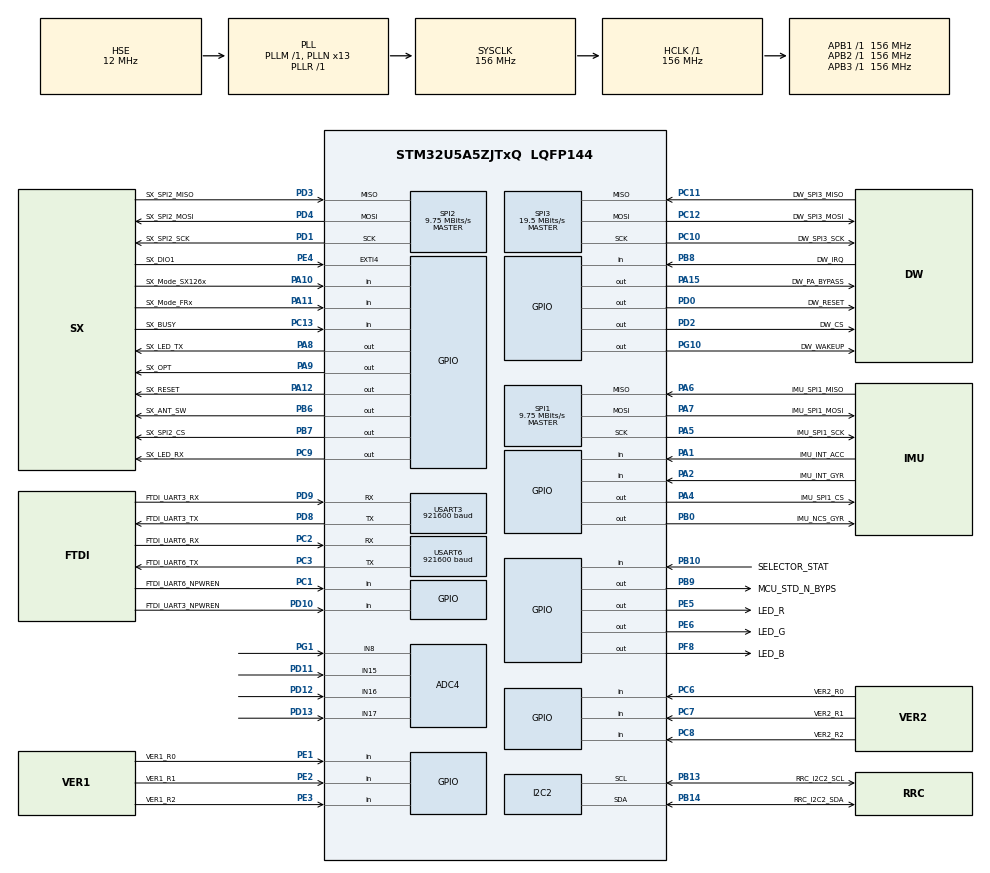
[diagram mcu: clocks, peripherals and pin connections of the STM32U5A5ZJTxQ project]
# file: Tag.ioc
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ADC4.NbrOfConversion=1
ADC4.NbrOfConversionFlag=0
ADC4.SelectedChannel=ADC_CHANNEL_8|ADC_CHANNEL_15|ADC_CHANNEL_16|ADC_CHANNEL_17
ADC4.Sequencer=NOT_FULLY_CONFIGURABLE
CORTEX_M33_NS.AccessPermission-Cortex_Memory_Protection_Unit_Region0_Settings=MPU_REGION_ALL_RO
CORTEX_M33_NS.AllocateAttribute1=MPU_RW_ALLOCATE
CORTEX_M33_NS.Attributes0=MPU_ATTRIBUTES_NUMBER0
CORTEX_M33_NS.Attributes1=MPU_ATTRIBUTES_NUMBER1
CORTEX_M33_NS.AttributesIndex-Cortex_Memory_Protection_Unit_Region1_Settings=MPU_ATTRIBUTES_NUMBER1
CORTEX_M33_NS.BaseAddress-Cortex_Memory_Protection_Unit_Region0_Settings=0x08200000
CORTEX_M33_NS.BaseAddress-Cortex_Memory_Protection_Unit_Region1_Settings=0x20000000
CORTEX_M33_NS.CacheableAttribute1=MPU_WRITE_BACK
CORTEX_M33_NS.Enable-Cortex_Memory_Protection_Unit_Region0_Settings=MPU_REGION_ENABLE
CORTEX_M33_NS.Enable-Cortex_Memory_Protection_Unit_Region1_Settings=MPU_REGION_ENABLE
CORTEX_M33_NS.LimitAddress-Cortex_Memory_Protection_Unit_Region0_Settings=0x083FDFFF
CORTEX_M33_NS.LimitAddress-Cortex_Memory_Protection_Unit_Region1_Settings=0x2026FFFF
CORTEX_M33_NS.MPU_Control=MPU_PRIVILEGED_DEFAULT
CORTEX_M33_NS.Memorytype1=MPU_CACHEABLE
CORTEX_M33_NS.Number-Cortex_Memory_Protection_Unit_Region1_Settings=MPU_REGION_NUMBER1
CORTEX_M33_NS.userName=CORTEX_M33
FLASH.B1_Bank=FLASH_BANK_2
FLASH.B1_endPage=510
FLASH.OB_Boot_Configuration_active_NS0=true
FLASH.OB_NSBOOTADD0_Address=0x08200000
FLASH.OB_User_Configuration_active=false
GPDMA1.DESTINC_GPDMACH0=DMA_DINC_INCREMENTED
GPDMA1.DESTINC_GPDMACH1=DMA_DINC_FIXED
GPDMA1.DESTINC_GPDMACH2=DMA_DINC_INCREMENTED
GPDMA1.DIRECTION_GPDMACH1=DMA_MEMORY_TO_PERIPH
GPDMA1.DIRECTION_GPDMACH3=DMA_MEMORY_TO_PERIPH
GPDMA1.IPHANDLE_GPDMACH0-SIMPLEREQUEST_GPDMACH0=__NULL
GPDMA1.IPHANDLE_GPDMACH1-SIMPLEREQUEST_GPDMACH1=__NULL
GPDMA1.IPHANDLE_GPDMACH2-SIMPLEREQUEST_GPDMACH2=__NULL
GPDMA1.IPHANDLE_GPDMACH3-SIMPLEREQUEST_GPDMACH3=__NULL
GPDMA1.PRIORITY_GPDMACH0=DMA_LOW_PRIORITY_HIGH_WEIGHT
GPDMA1.PRIORITY_GPDMACH1=DMA_LOW_PRIORITY_HIGH_WEIGHT
GPDMA1.PRIORITY_GPDMACH2=DMA_LOW_PRIORITY_HIGH_WEIGHT
GPDMA1.PRIORITY_GPDMACH3=DMA_LOW_PRIORITY_HIGH_WEIGHT
GPDMA1.REQUEST_GPDMACH0=GPDMA1_REQUEST_USART6_RX
GPDMA1.REQUEST_GPDMACH1=GPDMA1_REQUEST_USART6_TX
GPDMA1.REQUEST_GPDMACH2=GPDMA1_REQUEST_USART3_RX
GPDMA1.REQUEST_GPDMACH3=GPDMA1_REQUEST_USART3_TX
GPDMA1.SRCINC_GPDMACH1=DMA_SINC_INCREMENTED
GPDMA1.SRCINC_GPDMACH3=DMA_SINC_INCREMENTED
GPDMA1.SRCINC_GPDMACH4=DMA_SINC_INCREMENTED
GTZC.MPCBB1_Area_Privilege_Size=0x000C0000
GTZC.MPCBB1_SecConfig_array=00000000\:00000000\:00000000\:00000000\:00000000\:00000000\:00000000\:00000000\:00000000\:00000000\:00000000\:00000000\:00000000\:00000000\:00000000\:00000000\:00000000\:00000000\:00000000\:00000000\:00000000\:00000000\:00000000\:00000000\:00000000\:00000000\:00000000\:00000000\:00000000\:00000000\:00000000\:00000000\:00000000\:00000000\:00000000\:00000000\:00000000\:00000000\:00000000\:00000000\:00000000\:00000000\:00000000\:00000000\:00000000\:00000000\:00000000\:00000000
GTZC.MPCBB2_Area_Privilege_Size=0x00010000
GTZC.MPCBB2_PrivConfig_array=FFFFFFFF\:FFFFFFFF\:FFFFFFFF\:FFFFFFFF\:00000000\:00000000\:00000000\:00000000\:00000000\:00000000\:00000000\:00000000\:00000000\:00000000\:00000000\:00000000\:00000000\:00000000\:00000000\:00000000\:00000000\:00000000\:00000000\:00000000\:00000000\:00000000\:00000000\:00000000\:00000000\:00000000\:00000000\:00000000\:00000000\:00000000\:00000000\:00000000\:00000000\:00000000\:00000000\:00000000\:00000000\:00000000\:00000000\:00000000\:00000000\:00000000\:00000000\:00000000\:00000000\:00000000\:00000000\:00000000
GTZC.MPCBB2_SecConfig_array=00000000\:00000000\:00000000\:00000000\:00000000\:00000000\:00000000\:00000000\:00000000\:00000000\:00000000\:00000000\:00000000\:00000000\:00000000\:00000000\:00000000\:00000000\:00000000\:00000000\:00000000\:00000000\:00000000\:00000000\:00000000\:00000000\:00000000\:00000000\:00000000\:00000000\:00000000\:00000000\:00000000\:00000000\:00000000\:00000000\:00000000\:00000000\:00000000\:00000000\:00000000\:00000000\:00000000\:00000000\:00000000\:00000000\:00000000\:00000000\:00000000\:00000000\:00000000\:00000000
GTZC.MPCBB3_Area_Privilege_Size=0x000D0000
GTZC.MPCBB3_SecConfig_array=00000000\:00000000\:00000000\:00000000\:00000000\:00000000\:00000000\:00000000\:00000000\:00000000\:00000000\:00000000\:00000000\:00000000\:00000000\:00000000\:00000000\:00000000\:00000000\:00000000\:00000000\:00000000\:00000000\:00000000\:00000000\:00000000\:00000000\:00000000\:00000000\:00000000\:00000000\:00000000\:00000000\:00000000\:00000000\:00000000\:00000000\:00000000\:00000000\:00000000\:00000000\:00000000\:00000000\:00000000\:00000000\:00000000\:00000000\:00000000\:00000000\:00000000\:00000000\:00000000
GTZC.MPCBB4_PrivConfig_array=00000000
GTZC.MPCBB4_SecConfig_array=00000000
GTZC.MPCBB5_Area_Privilege_Size=0x000D0000
GTZC.MPCBB5_SecConfig_array=00000000\:00000000\:00000000\:00000000\:00000000\:00000000\:00000000\:00000000\:00000000\:00000000\:00000000\:00000000\:00000000\:00000000\:00000000\:00000000\:00000000\:00000000\:00000000\:00000000\:00000000\:00000000\:00000000\:00000000\:00000000\:00000000\:00000000\:00000000\:00000000\:00000000\:00000000\:00000000\:00000000\:00000000\:00000000\:00000000\:00000000\:00000000\:00000000\:00000000\:00000000\:00000000\:00000000\:00000000\:00000000\:00000000\:00000000\:00000000\:00000000\:00000000\:00000000\:00000000
I2C2.Timing=0x40707EB4
Mcu.Family=STM32U5
Mcu.Name=STM32U5A5ZJTxQ
Mcu.Package=LQFP144
NUCLEO-U5A5ZJ-Q.BUTTON=0
NUCLEO-U5A5ZJ-Q.LD1=false
NUCLEO-U5A5ZJ-Q.LD2=false
NUCLEO-U5A5ZJ-Q.LD3=false
NUCLEO-U5A5ZJ-Q.VCP=false
NVIC.EXTI4_IRQn=true\:1\:0\:false\:true\:true\:1\:true\:true\:true
NVIC.GPDMA1_Channel0_IRQn=true\:5\:0\:true\:true\:true\:5\:false\:true\:true
NVIC.GPDMA1_Channel1_IRQn=true\:0\:0\:false\:false\:true\:false\:true\:true
NVIC.GPDMA1_Channel2_IRQn=true\:0\:0\:false\:false\:true\:false\:true\:true
NVIC.GPDMA1_Channel3_IRQn=true\:0\:0\:false\:false\:true\:false\:true\:true
NVIC.PriorityGroup=NVIC_PRIORITYGROUP_4
NVIC.TIM4_IRQn=true\:0\:0\:false\:true\:true\:2\:true\:true\:true
NVIC.USART3_IRQn=true\:0\:0\:false\:false\:true\:true\:true\:true
NVIC.USART6_IRQn=true\:0\:0\:false\:false\:true\:true\:true\:true
PA1.GPIO_Label=IMU_INT_ACC
PA1.Signal=GPIO_Input
PA10.GPIO_Label=SX_Mode_SX126x
PA10.Signal=GPIO_Input
PA11.GPIO_Label=SX_Mode_FRx
PA11.Signal=GPIO_Input
PA12.GPIO_Label=SX_RESET
PA12.Signal=GPIO_Output
PA13\ (JTMS/SWDIO).Mode=Serial_Wire
PA13\ (JTMS/SWDIO).Signal=DEBUG_JTMS-SWDIO
PA14\ (JTCK/SWCLK).Mode=Serial_Wire
PA14\ (JTCK/SWCLK).Signal=DEBUG_JTCK-SWCLK
PA15\ (JTDI).GPIO_Label=DW_PA_BYPASS
PA15\ (JTDI).Signal=GPIO_Output
PA2.GPIO_Label=IMU_INT_GYR
PA2.Signal=GPIO_Input
PA4.GPIO_Label=IMU_SPI1_CS
PA4.Signal=GPIO_Output
PA5.GPIO_Label=IMU_SPI1_SCK
PA5.Mode=Full_Duplex_Master
PA5.Signal=SPI1_SCK
PA6.GPIO_Label=IMU_SPI1_MISO
PA6.Mode=Full_Duplex_Master
PA6.Signal=SPI1_MISO
PA7.GPIO_Label=IMU_SPI1_MOSI
PA7.Mode=Full_Duplex_Master
PA7.Signal=SPI1_MOSI
PA8.GPIO_Label=SX_LED_TX
PA8.Signal=GPIO_Output
PA9.GPIO_Label=SX_OPT
PA9.Signal=GPIO_Output
PB0.GPIO_Label=IMU_NCS_GYR
PB0.Signal=GPIO_Output
PB10.GPIO_Label=SELECTOR_STAT
PB10.Signal=GPIO_Input
PB13.GPIO_Label=RRC_I2C2_SCL
PB13.GPIO_Pu=GPIO_PULLUP
PB13.Mode=I2C
PB13.Signal=I2C2_SCL
PB14.GPIO_Label=RRC_I2C2_SDA
PB14.GPIO_Pu=GPIO_PULLUP
PB14.Mode=I2C
PB14.Signal=I2C2_SDA
PB3\ (JTDO/TRACESWO).Signal=DEBUG_JTDO-SWO
PB6.GPIO_Label=SX_ANT_SW
PB6.Signal=GPIO_Output
PB7.GPIO_Label=SX_SPI2_CS
PB7.Signal=GPIO_Output
PB8.GPIO_Label=DW_IRQ
PB8.Signal=GPIO_Input
PB9.GPIO_Label=MCU_STD_N_BYPS
PB9.GPIO_PuPd=GPIO_PULLUP
PB9.PinState=GPIO_PIN_SET
PB9.Signal=GPIO_Output
PC1.GPIO_Label=FTDI_UART6_NPWREN
PC1.GPIO_PuPd=GPIO_NOPULL
PC1.Signal=GPIO_Input
PC10.GPIO_Label=DW_SPI3_SCK
PC10.Mode=Full_Duplex_Master
PC10.Signal=SPI3_SCK
PC11.GPIO_Label=DW_SPI3_MISO
PC11.Mode=Full_Duplex_Master
PC11.Signal=SPI3_MISO
PC12.GPIO_Label=DW_SPI3_MOSI
PC12.Mode=Full_Duplex_Master
PC12.Signal=SPI3_MOSI
PC13.GPIO_Label=SX_BUSY
PC13.Signal=GPIO_Input
PC14-OSC32_IN\ (PC14).Mode=LSE-External-Oscillator
PC14-OSC32_IN\ (PC14).Signal=RCC_OSC32_IN
PC15-OSC32_OUT\ (PC15).Mode=LSE-External-Oscillator
PC15-OSC32_OUT\ (PC15).Signal=RCC_OSC32_OUT
PC2.GPIO_Label=FTDI_UART6_RX
PC2.GPIO_PuPd=GPIO_PULLUP
PC2.Mode=Asynchronous
PC2.Signal=USART6_RX
PC3.GPIO_Label=FTDI_UART6_TX
PC3.GPIO_PuPd=GPIO_PULLUP
PC3.Mode=Asynchronous
PC3.Signal=USART6_TX
PC6.GPIO_Label=VER2_R0
PC6.GPIO_PuPd=GPIO_PULLUP
PC6.Signal=GPIO_Input
PC7.GPIO_Label=VER2_R1
PC7.GPIO_PuPd=GPIO_PULLUP
PC7.Signal=GPIO_Input
PC8.GPIO_Label=VER2_R2
PC8.GPIO_PuPd=GPIO_PULLUP
PC8.Signal=GPIO_Input
PC9.GPIO_Label=SX_LED_RX
PC9.Signal=GPIO_Output
PD0.GPIO_Label=DW_RESET
PD0.Signal=GPIO_Output
PD1.GPIO_Label=SX_SPI2_SCK
PD1.Mode=Full_Duplex_Master
PD1.Signal=SPI2_SCK
PD10.GPIO_Label=FTDI_UART3_NPWREN
PD10.GPIO_PuPd=GPIO_NOPULL
PD10.Signal=GPIO_Input
PD11.Mode=IN15
PD11.Signal=ADC4_IN15
PD12.Mode=IN16
PD12.Signal=ADC4_IN16
PD13.Mode=IN17
PD13.Signal=ADC4_IN17
PD2.GPIO_Label=DW_CS
PD2.Signal=GPIO_Output
PD3.GPIO_Label=SX_SPI2_MISO
PD3.Mode=Full_Duplex_Master
PD3.Signal=SPI2_MISO
PD4.GPIO_Label=SX_SPI2_MOSI
PD4.Mode=Full_Duplex_Master
PD4.Signal=SPI2_MOSI
PD8.GPIO_Label=FTDI_UART3_TX
PD8.GPIO_PuPd=GPIO_PULLUP
PD8.Mode=Asynchronous
PD8.Signal=USART3_TX
PD9.GPIO_Label=FTDI_UART3_RX
PD9.GPIO_PuPd=GPIO_PULLUP
PD9.Mode=Asynchronous
PD9.Signal=USART3_RX
PE1.GPIO_Label=VER1_R0
PE1.GPIO_PuPd=GPIO_PULLUP
PE1.Signal=GPIO_Input
PE2.GPIO_Label=VER1_R1
PE2.GPIO_PuPd=GPIO_PULLUP
PE2.Signal=GPIO_Input
PE3.GPIO_Label=VER1_R2
PE3.GPIO_PuPd=GPIO_PULLUP
PE3.Signal=GPIO_Input
PE4.GPIO_Label=SX_DIO1
PE4.Signal=GPXTI4
PE5.GPIO_Label=LED_R
PE5.GPIO_PuPd=GPIO_PULLUP
PE5.PinState=GPIO_PIN_SET
PE5.Signal=GPIO_Output
PE6.GPIO_Label=LED_G
PE6.GPIO_PuPd=GPIO_PULLUP
PE6.PinState=GPIO_PIN_SET
PE6.Signal=GPIO_Output
PF8.GPIO_Label=LED_B
PF8.GPIO_PuPd=GPIO_PULLUP
PF8.PinState=GPIO_PIN_SET
PF8.Signal=GPIO_Output
PG1.Mode=IN8
PG1.Signal=ADC4_IN8
PG10.GPIO_Label=DW_WAKEUP
PG10.Signal=GPIO_Output
PH0-OSC_IN\ (PH0).Mode=HSE-External-Oscillator
PH0-OSC_IN\ (PH0).Signal=RCC_OSC_IN
PH1-OSC_OUT\ (PH1).Mode=HSE-External-Oscillator
PH1-OSC_OUT\ (PH1).Signal=RCC_OSC_OUT
ProjectManager.HeapSize=0x200
ProjectManager.StackSize=0x400
ProjectManager.TargetToolchain=STM32CubeIDE
RCC.ADCFreq_Value=16000000
RCC.AHBFreq_Value=156000000
RCC.APB1Freq_Value=156000000
RCC.APB1TimFreq_Value=156000000
RCC.APB2Freq_Value=156000000
RCC.APB2TimFreq_Value=156000000
RCC.APB3Freq_Value=156000000
RCC.CortexFreq_Value=156000000
RCC.DACCLockSelectionVirtual=RCC_DAC1CLKSOURCE_LSI
RCC.EPOD_VALUE=12000000
RCC.HCLKFreq_Value=156000000
RCC.HSE_VALUE=12000000
RCC.HSI48_VALUE=48000000
RCC.HSI_VALUE=16000000
RCC.LSIDIV=RCC_LSI_DIV128
RCC.LSIDIV_VALUE=250
RCC.MSIClockRange=RCC_MSIRANGE_0
RCC.MSI_VALUE=48000000
RCC.PLL1P=8
RCC.PLL1R=1
RCC.PLL2FRACN=0
RCC.PLL3FRACN=0
RCC.PLLFRACN=0
RCC.PLLN=13
RCC.PLLSourceVirtual=RCC_PLLSOURCE_HSE
RCC.SPI1CLockSelection=RCC_SPI1CLKSOURCE_PCLK2
RCC.SPI2CLockSelection=RCC_SPI2CLKSOURCE_PCLK1
RCC.SPI3CLockSelection=RCC_SPI3CLKSOURCE_PCLK3
RCC.SYSCLKFreq_VALUE=156000000
RCC.SYSCLKSource=RCC_SYSCLKSOURCE_PLLCLK
RCC.VCOOutputFreq_Value=156000000
RTC.RTC_NONSECURE_FEATURE_ALRA=__NULL
RTC.backupRegisterStartZone3_g=1
SPI1.BaudRatePrescaler=SPI_BAUDRATEPRESCALER_16
SPI1.CalculateBaudRate=9.75 MBits/s
SPI1.DataSize=SPI_DATASIZE_8BIT
SPI1.Direction=SPI_DIRECTION_2LINES
SPI1.Mode=SPI_MODE_MASTER
SPI1.VirtualType=VM_MASTER
SPI2.BaudRatePrescaler=SPI_BAUDRATEPRESCALER_16
SPI2.CLKPolarity=SPI_POLARITY_LOW
SPI2.CalculateBaudRate=9.75 MBits/s
SPI2.DataSize=SPI_DATASIZE_8BIT
SPI2.Direction=SPI_DIRECTION_2LINES
SPI2.Mode=SPI_MODE_MASTER
SPI2.VirtualType=VM_MASTER
SPI3.BaudRatePrescaler=SPI_BAUDRATEPRESCALER_8
SPI3.CalculateBaudRate=19.5 MBits/s
SPI3.DataSize=SPI_DATASIZE_8BIT
SPI3.Direction=SPI_DIRECTION_2LINES
SPI3.MasterReceiverAutoSusp=SPI_MASTER_RX_AUTOSUSP_ENABLE
SPI3.Mode=SPI_MODE_MASTER
SPI3.VirtualType=VM_MASTER
TIM4.AutoReloadPreload=TIM_AUTORELOAD_PRELOAD_ENABLE
TIM4.PeriodNoDither=999
TIM4.Prescaler=155
USART3.BaudRate=921600
USART3.VirtualMode-Asynchronous=VM_ASYNC
USART6.BaudRate=921600
USART6.VirtualMode-Asynchronous=VM_ASYNC
VP_CRC_VS_CRC.Mode=CRC_Activate
VP_FLASH_SIG_Activate_FlashIP.Mode=Activate_FlashIP
VP_GPDMA1_VS_GPDMACH0.Mode=SIMPLEREQUEST_GPDMACH0
VP_GPDMA1_VS_GPDMACH1.Mode=SIMPLEREQUEST_GPDMACH1
VP_GPDMA1_VS_GPDMACH2.Mode=SIMPLEREQUEST_GPDMACH2
VP_GPDMA1_VS_GPDMACH3.Mode=SIMPLEREQUEST_GPDMACH3
VP_GPDMA1_VS_GPDMACH4.Mode=SIMPLEREQUEST_GPDMACH4
VP_GTZC_VS_GTZC_Enable.Mode=GTZC_Enable
VP_ICACHE_VS_ICACHE.Mode=DefaultMode
VP_LPBAMQUEUE_VS_QUEUE.Mode=QUEUEMODE
VP_LPBAM_VS_SIG1.Mode=SmartRun
VP_LPBAM_VS_SIG4.Mode=LPDMA1
VP_MEMORYMAP_VS_MEMORYMAP.Mode=CurAppReg
VP_NUCLEO-U5A5ZJ-Q_VS_BSP_COMMON.Mode=COMMON
VP_PWR_VS_SECSignals.Mode=Security/Privilege
VP_PWR_Vdda.Mode=isolationVdda
VP_RTC_VS_RTC_Activate.Mode=RTC_Enabled
VP_TIM2_VS_ClockSourceINT.Mode=Internal
VP_TIM4_VS_ClockSourceINT.Mode=Internal
board=NUCLEO-U5A5ZJ-Q

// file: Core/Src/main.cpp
/* USER CODE BEGIN Header */
/**
 ******************************************************************************
 * @file           : main.c
 * @brief          : Main program body
 ******************************************************************************
 * @attention
 *
 * Copyright (c) 2024 STMicroelectronics.
 * All rights reserved.
 *
 * This software is licensed under terms that can be found in the LICENSE file
 * in the root directory of this software component.
 * If no LICENSE file comes with this software, it is provided AS-IS.
 *
 ******************************************************************************
 */
/* USER CODE END Header */
#include "main.h"
#include "adc.h"
#include "crc.h"
#include "flash.h"
#include "gpdma.h"
#include "i2c.h"
#include "icache.h"
#include "memorymap.h"
#include "rtc.h"
#include "spi.h"
#include "tim.h"
#include "usart.h"
#include "gpio.h"

/* USER CODE BEGIN Includes */
#include "dw1000.h"
#include "Led.h"
#include "../Lora/Inc/Lora.hpp"
#include "Power.h"
#include "flash_handler.h"
#include "stm32u5xx_hal_usart.h"
#include "uart_communication.h"
#include "burn_mode.h"
#include "fota.h"
#include <string.h>
#include "BMI088.h"
#include "stm32u5xx_it.h"
/* USER CODE END Includes */

/* USER CODE BEGIN PTD */
#include <unistd.h>
#include <stdlib.h>
#include <stdio.h>

// Tags are built WITH wakeup (sleep until an anchor wakes them over LoRa). Uncomment only for a
// bench image that never sleeps.
//#define WITHOUT_WAKEUP

/* USER CODE END PTD */

void SystemClock_Config(void);
static void MPU_Config(void);
static void MX_NVIC_Init(void);

/* USER CODE BEGIN 0 */
LoraRxInfo_t lora_rxInfo =
{
		.lora_wakeup_buffer = {0} , .buffer_length = 0, .rssi = 0,		// average rssi
				.snr = 0, .RxTOsCounter = 0, //Rx Time Outs Counter
				.new_data = false, .wakeup_detected = false, .no_lora = false, .tx_counter = 0, .freq = 0,
				.wakeup_cycle_enable = true};
extern DwmInfo_t dwmInfo;

uint8_t RxLen;
S_UART_MESSAGE msg;
S_UART_MESSAGE reply;

uint8_t HW_Version;
static uint8_t HW_Strap;	// what the strap pins read (#21)
bool wakeup_switch = true;

void printStt(void)
{
	/*	uint8_t buff[100] = { 0 };
	 uint8_t len =
	 snprintf((char*) buff, sizeof(buff),
	 "*T%x:%s:%s:Dw%d:Lr%d(%d)#\n\r0x%08X &\r\n0x%08X\r\n----------\r\n0x%08X\r\nRxTO:%d\r\nTx:%d, %d\r\n",
	 SELF_ID, VERSION, HW_VER, dwmInfo.status,
	 lora_rxInfo.status, lora_msg_index, dwmInfo.statusReg,
	 (SYS_STATUS_ALL_RX_TO | SYS_STATUS_RXFCG
	 | SYS_STATUS_ALL_RX_ERR),
	 dwmInfo.statusReg
	 & (SYS_STATUS_ALL_RX_TO | SYS_STATUS_RXFCG
	 | SYS_STATUS_ALL_RX_ERR),
	 dwmInfo.RxToCounter, lora_rxInfo.no_lora,
	 lora_rxInfo.tx_counter);
	 HAL_UART_Transmit(&huart1, buff, len, 100);*/
}

void print(const char *s)
{
	//HAL_UART_Transmit(&huart3, (uint8_t*) s, strlen(s), 100);
}

void printP(const char *s, const char *p)
{
//	uint8_t buff[100] =
//	{ 0 };
//	uint8_t len = snprintf((char*) buff, sizeof(buff), s, p);
//
//	HAL_UART_Transmit(&huart1, buff, len, 100);
}

// Self-id flash page: slot 0 tag id, 1 TX antenna delay, 2 RX antenna delay.
// Rewrites the page with slots 1-2 replaced; returns 0 on success.
static uint8_t Save_Antenna_Delays(uint16_t tx, uint16_t rx) {
	uint16_t page[8];
	memcpy(page, (const void*)FLASH_SELF_ID_ADDRESS, sizeof(page));
	page[1] = tx;
	page[2] = rx;
	if (Flash_Erase(FLASH_SELF_ID_USER_BANK, FLASH_SELF_ID_PAGE) != HAL_OK)
		return 1;
	return Flash_Write(FLASH_SELF_ID_ADDRESS, (uint64_t*)page, 1) != HAL_OK;
}

// UART_OPCODE_ANT_DELAY: {tx u16, rx u16} sets (0/0xFFFF = back to the default), empty = read.
// Reply {status, tx u16, rx u16} with the values in flash (0xFFFF = default in use).
static void Antenna_Delay_Command(S_UART_MESSAGE *msg, S_UART_MESSAGE *reply) {
	static uint8_t r[8];
	uint8_t status = 0;
	(void)reply;
	if (msg->header.length >= sizeof(S_HEADER) + 4 + 1) {
		uint16_t tx, rx;
		memcpy(&tx, &msg->buff[0], 2);
		memcpy(&rx, &msg->buff[2], 2);
		status = Save_Antenna_Delays(tx, rx);
		dwApplyAntennaDelays();
	}
	const uint16_t *page = (const uint16_t*)FLASH_SELF_ID_ADDRESS;
	r[0] = msg->header.opcode;
	r[1] = sizeof(r);
	r[2] = status;
	memcpy(&r[3], &page[1], 2);
	memcpy(&r[5], &page[2], 2);
	r[7] = checksum(r, sizeof(r));
	UART_SendMessage(r, sizeof(r));
}

// UART_OPCODE_XTAL_TRIM: {trim u8} 0..31 saves and applies it, 0xFF clears it (back to the chip's OTP
// trim, or mid-range), empty = read. Self-id page slot 3. Reply {status, saved (0xFF = none), active}.
static void Xtal_Trim_Command(S_UART_MESSAGE *msg) {
	static uint8_t r[6];
	uint8_t status = 0;
	if (msg->header.length >= sizeof(S_HEADER) + 1 + 1) {
		uint8_t t = msg->buff[0];
		if (t <= FS_XTALT_MASK || t == 0xFF) {
			uint16_t page[8];
			memcpy(page, (const void*)FLASH_SELF_ID_ADDRESS, sizeof(page));
			page[3] = (t == 0xFF) ? 0xFFFF : t;
			if (Flash_Erase(FLASH_SELF_ID_USER_BANK, FLASH_SELF_ID_PAGE) != HAL_OK
					|| Flash_Write(FLASH_SELF_ID_ADDRESS, (uint64_t*)page, 1) != HAL_OK)
				status = 1;
			if (t == 0xFF) {	// back to what the driver loads at init
				dwmInit();
				dwConfig(&config);
			} else {
				dwt_setxtaltrim(t);
			}
		} else {
			status = 2;		// out of range
		}
	}
	uint16_t saved = ((const uint16_t*)FLASH_SELF_ID_ADDRESS)[3];
	r[0] = msg->header.opcode;
	r[1] = sizeof(r);
	r[2] = status;
	r[3] = (saved <= FS_XTALT_MASK) ? (uint8_t)saved : 0xFF;
	r[4] = dwt_read8bitoffsetreg(FS_CTRL_ID, FS_XTALT_OFFSET) & FS_XTALT_MASK;
	r[5] = checksum(r, sizeof(r));
	UART_SendMessage(r, sizeof(r));
}

// UART_OPCODE_HW_REV (#21): {rev u8} 0..HW_REV_MAX stores the board revision (self-id page slot 4),
// 0xFF clears it (the strap pins decide again), empty = read. Reply {status, active, stored
// (0xFF = none), straps}. A change reboots the board once the reply is out: UART, LEDs and radio
// drive are set up for the revision at power-up.
static void Hw_Rev_Command(S_UART_MESSAGE *msg) {
	static uint8_t r[7];
	uint8_t status = 0;
	uint16_t stored = ((const uint16_t*)FLASH_SELF_ID_ADDRESS)[SELF_ID_SLOT_HW];
	bool changed = false;
	if (msg->header.length >= sizeof(S_HEADER) + 1 + 1) {
		uint8_t v = msg->buff[0];
		uint16_t want = (v == 0xFF) ? 0xFFFF : v;
		if (v > HW_REV_MAX && v != 0xFF) {
			status = 2;		// out of range
		} else if (want != stored) {
			uint16_t page[8];
			memcpy(page, (const void*)FLASH_SELF_ID_ADDRESS, sizeof(page));
			page[SELF_ID_SLOT_HW] = want;
			if (Flash_Erase(FLASH_SELF_ID_USER_BANK, FLASH_SELF_ID_PAGE) != HAL_OK
					|| Flash_Write(FLASH_SELF_ID_ADDRESS, (uint64_t*)page, 1) != HAL_OK) {
				status = 1;
			} else {
				stored = want;
				changed = true;
			}
		}
	}
	r[0] = msg->header.opcode;
	r[1] = sizeof(r);
	r[2] = status;
	r[3] = HW_Version;
	r[4] = (stored <= HW_REV_MAX) ? (uint8_t)stored : 0xFF;
	r[5] = HW_Strap;
	r[6] = checksum(r, sizeof(r));
	UART_SendMessage(r, sizeof(r));
	if (changed) {
		HAL_Delay(50);		// the reply goes out by DMA
		HAL_NVIC_SystemReset();
	}
}

/* USER CODE END 0 */

int main(void)
{

  /* USER CODE BEGIN 1 */
	SCB->VTOR = 0x08200000;
	__enable_irq();
  /* USER CODE END 1 */

  /* MCU Configuration--------------------------------------------------------*/

  /* MPU Configuration--------------------------------------------------------*/
  MPU_Config();

  /* Reset of all peripherals, Initializes the Flash interface and the Systick. */
  HAL_Init();

  /* Configure the system clock */
  SystemClock_Config();

  /* Initialize all configured peripherals */
  MX_GPDMA1_Init();
  MX_GPIO_Init();
  MX_SPI1_Init();
  MX_ICACHE_Init();
  MX_SPI3_Init();
  MX_TIM2_Init();
  MX_TIM4_Init();
  MX_SPI2_Init();
  MX_RTC_Init();
  MX_USART6_UART_Init();
  MX_USART3_UART_Init();
  MX_ADC4_Init();
  MX_FLASH_Init();
  MX_CRC_Init();
  MX_I2C2_Init();

  /* Initialize interrupts */
  MX_NVIC_Init();

  /* Infinite loop */
  /* USER CODE BEGIN WHILE */
  CRC_File_Handler(); //create header file flash if it doesnt exist
  main_init();

  Led_show();
  BMI088_Init(&bmi,&hspi1,IMU_SPI1_CS_GPIO_Port,IMU_SPI1_CS_Pin,IMU_NCS_GYR_GPIO_Port, IMU_NCS_GYR_Pin);

  print("\n\n\n");
  print("----------------------\r\n");
  printP("	Tag Version: %s \r\n", VERSION);
  print("----------------------\r\n");
  print("\n\n\n");

	status_bits errors = {0};

	if (dwmInit())
	{
		dwConfig(&config);
	}

	HAL_TIM_Base_Start_IT(&htim4);
	Enable_Wakeup_Pin(PWR_WAKEUP_PIN1_HIGH_2);
	// Power up LEDs

	Lora_init();
	if(lora_rxInfo.no_lora == false)
	{
		#ifdef WITHOUT_WAKEUP
			RunTXStateMachine(errors);
			lora_rxInfo.wakeup_detected = true;
		#else
			Lora_Operation_RX(errors);
		#endif // WITHOUT_WAKEUP
	}

	__HAL_PWR_CLEAR_FLAG(PWR_FLAG_SBF);  // Clear Standby flag
	__HAL_PWR_CLEAR_FLAG(PWR_WAKEUP_FLAG1); // Clear wake-up flag
	errors.bits.no_LoRa  = lora_rxInfo.no_lora;
	errors.bits.no_UWB = dwmInfo.no_uwb;
	Led_Power_Up_State(dwmInfo.no_uwb ,lora_rxInfo.no_lora);

	#ifdef WITHOUT_WAKEUP
		PWR_SetTimeOut(PWR_Duration_NEVER);
	#else
		PWR_SetTimeOut(PWR_Duration_PowerUpSleepDuration);
	#endif

	/***********************
	 *
	 * 		Main Operational Loop
	 *
	 */
	while  (1)
	{
		refresh_WD();
		fota_poll();

		//	UWB

		if (!fota_busy())
			dwRecover();
		if (dwmInfo.no_uwb == false && !fota_busy())
		{
			if (dwRange())
			{
				Link_Led(GREEN);
			}
		}
		//	LoRa
		if (lora_rxInfo.no_lora == false && !fota_busy()){
			if (lora_rxInfo.wakeup_detected == true){

				if (!PWR_NeedToSleep())
				{
					Lora_TagService(errors);	// beacons, plus the command listen window and its ack
				}
			}
			else
			{
				Lora_Operation_RX(errors);
			}
		}

		//	UART
		RxLen = UART_GetMessage((uint8_t*) &msg, sizeof(msg));
		if ((RxLen != RX_EMPTY) && Validate_UART(&msg, RxLen))
		{
			PWR_SetTimeOut(PWR_Duration_LabDuration);

			switch (msg.header.opcode)
			{
			case UART_OPCODE_BURN: {
				UART_Reply_Burn_msg(&msg,&reply);
				break;
			}
			case UART_OPCODE_SET_ID:
			{
//				uint16_t new_id = msg.set_id_req.new_id;
				const uint16_t *page = (const uint16_t*)FLASH_SELF_ID_ADDRESS;	// keep the antenna delays
				uint16_t new_id[8] = {msg.set_id_req.new_id,page[1],page[2],page[3],page[SELF_ID_SLOT_HW],0xFFFF,0xFFFF,0xFFFF};	// keep delays, crystal trim and board revision

				//uint64_t Data = msg.set_id_req.new_id;
				uint8_t error;
				error = Flash_Erase(FLASH_SELF_ID_USER_BANK, FLASH_SELF_ID_PAGE) != HAL_OK;
				if (error){
					UART_Reply_Set_Self_ID(&msg, &reply, error);
					break;
				}
				error = Flash_Write(FLASH_SELF_ID_ADDRESS, (uint64_t*)&new_id, 1) != HAL_OK;
				if (error){
					UART_Reply_Set_Self_ID(&msg, &reply, error);
					break;
				}
				UART_Reply_Set_Self_ID(&msg, &reply, error);
				break;
			}
			case UART_OPCODE_STATUS:
			{
				dwmStatus();
				Lora_Status();
				UART_Reply_Status(&msg,&reply);
				break;
			}
			case UART_OPCODE_ANT_DELAY:
			{
				Antenna_Delay_Command(&msg, &reply);
				break;
			}
			case UART_OPCODE_XTAL_TRIM:
			{
				Xtal_Trim_Command(&msg);
				break;
			}
			case UART_OPCODE_HW_REV:
			{
				Hw_Rev_Command(&msg);
				break;
			}
			case UART_OPCODE_LOOPBACK:
			{
				UART_SendMessage(&msg, msg.header.length);
				break;
			}

			case UART_OPCODE_READ_UWB_RAW:{
				UART_Reply_UWB_Raw(&msg, &reply);
				break;
			}
			case UART_OPCODE_RESET:
			{
				UART_Reply_Status(&msg,&reply);
				HAL_Delay(1000);
				HAL_NVIC_SystemReset();
				break;
			}

			case UART_OPCODE_UPDATE_FW:
			{
				UART_Reply_UPDATE_FW(&msg,&reply);
				HAL_Delay(50);

				write_bkup_sram();
				//*(uint32_t*)(SRAM_BKUP_REGISTER+4) = 0;
				//uint32_t read_reg = *(uint32_t*)SRAM_BKUP_REGISTER;
				if (Update_FW_Boot_Flag()){
					Jump_To_Boot();
				}
				break;
			}

			default:
				if (!fota_uart_command((uint8_t*) &msg, RxLen))
					UART_Reply_error(&msg, &reply);
				break;
			}
		}
		//	LED
		Led_Maintanence();

#ifndef WITHOUT_WAKEUP
		{	//	Low power handling
			// Lora_TagCanSleep(): never with a command window or ack in progress, whose inverted IQ would
			// leave the sleeping radio deaf to wake messages
			if(Lora_TXidle() && Lora_TagCanSleep() && PWR_NeedToSleep() && !fota_keep_awake()){
				lora_rxInfo.wakeup_cycle_enable = true;
				PWR_Sleep();
				wakeup_switch = false;
			}
		}
#endif // WITHOUT_WAKEUP
	}
    /* USER CODE END WHILE */

}

void SystemClock_Config(void)
{
  RCC_OscInitTypeDef RCC_OscInitStruct = {0};
  RCC_ClkInitTypeDef RCC_ClkInitStruct = {0};

  /** Configure the main internal regulator output voltage
  */
  if (HAL_PWREx_ControlVoltageScaling(PWR_REGULATOR_VOLTAGE_SCALE1) != HAL_OK)
  {
    Error_Handler();
  }

  /** Initializes the CPU, AHB and APB buses clocks
  */
  RCC_OscInitStruct.OscillatorType = RCC_OSCILLATORTYPE_HSI|RCC_OSCILLATORTYPE_LSI
                              |RCC_OSCILLATORTYPE_HSE;
  RCC_OscInitStruct.HSEState = RCC_HSE_ON;
  RCC_OscInitStruct.HSIState = RCC_HSI_ON;
  RCC_OscInitStruct.HSICalibrationValue = RCC_HSICALIBRATION_DEFAULT;
  RCC_OscInitStruct.LSIState = RCC_LSI_ON;
  RCC_OscInitStruct.LSIDiv = RCC_LSI_DIV128;
  RCC_OscInitStruct.PLL.PLLState = RCC_PLL_ON;
  RCC_OscInitStruct.PLL.PLLSource = RCC_PLLSOURCE_HSE;
  RCC_OscInitStruct.PLL.PLLMBOOST = RCC_PLLMBOOST_DIV1;
  RCC_OscInitStruct.PLL.PLLM = 1;
  RCC_OscInitStruct.PLL.PLLN = 13;
  RCC_OscInitStruct.PLL.PLLP = 8;
  RCC_OscInitStruct.PLL.PLLQ = 2;
  RCC_OscInitStruct.PLL.PLLR = 1;
  RCC_OscInitStruct.PLL.PLLRGE = RCC_PLLVCIRANGE_1;
  RCC_OscInitStruct.PLL.PLLFRACN = 0;
  if (HAL_RCC_OscConfig(&RCC_OscInitStruct) != HAL_OK)
  {
    Error_Handler();
  }

  /** Initializes the CPU, AHB and APB buses clocks
  */
  RCC_ClkInitStruct.ClockType = RCC_CLOCKTYPE_HCLK|RCC_CLOCKTYPE_SYSCLK
                              |RCC_CLOCKTYPE_PCLK1|RCC_CLOCKTYPE_PCLK2
                              |RCC_CLOCKTYPE_PCLK3;
  RCC_ClkInitStruct.SYSCLKSource = RCC_SYSCLKSOURCE_PLLCLK;
  RCC_ClkInitStruct.AHBCLKDivider = RCC_SYSCLK_DIV1;
  RCC_ClkInitStruct.APB1CLKDivider = RCC_HCLK_DIV1;
  RCC_ClkInitStruct.APB2CLKDivider = RCC_HCLK_DIV1;
  RCC_ClkInitStruct.APB3CLKDivider = RCC_HCLK_DIV1;

  if (HAL_RCC_ClockConfig(&RCC_ClkInitStruct, FLASH_LATENCY_4) != HAL_OK)
  {
    Error_Handler();
  }
}

/**
  * @brief NVIC Configuration.
  * @retval None
  */
static void MX_NVIC_Init(void)
{
  /* EXTI4_IRQn interrupt configuration */
  HAL_NVIC_SetPriority(EXTI4_IRQn, 1, 0);	// below TIM4: the watchdog preempts a radio handler stuck on BUSY
  HAL_NVIC_EnableIRQ(EXTI4_IRQn);
  /* TIM4_IRQn interrupt configuration */
  HAL_NVIC_SetPriority(TIM4_IRQn, 0, 0);
  HAL_NVIC_EnableIRQ(TIM4_IRQn);
  /* GPDMA1_Channel0_IRQn interrupt configuration */
  HAL_NVIC_SetPriority(GPDMA1_Channel0_IRQn, 5, 0);
  HAL_NVIC_EnableIRQ(GPDMA1_Channel0_IRQn);
}

/* USER CODE BEGIN 4 */

VER_PIN RevC1[] = {
		{GPIOE, GPIO_PIN_1},	// VER1_0
		{GPIOE, GPIO_PIN_2},	// VER1_1
		{GPIOE, GPIO_PIN_3},	// VER1_2
};

VER_PIN RevC2[] = {
		{GPIOC, GPIO_PIN_6},	// VER2_0
		{GPIOC, GPIO_PIN_7},	// VER2_1
		{GPIOC, GPIO_PIN_8},	// VER2_2
};
// The stored board revision (#21) wins; without one, the strap pins decide.
void read_hw_version(void){
	HW_Strap = 0;
	HW_Strap |= READ_HW_PIN(RevC1[VER_R0],VER_R0) | READ_HW_PIN(RevC2[VER_R0],VER_R0);
	HW_Strap |= READ_HW_PIN(RevC1[VER_R1],VER_R1) | READ_HW_PIN(RevC2[VER_R1],VER_R1);
	HW_Strap |= READ_HW_PIN(RevC1[VER_R2],VER_R2) | READ_HW_PIN(RevC2[VER_R2],VER_R2);
	uint16_t stored = ((const uint16_t*)FLASH_SELF_ID_ADDRESS)[SELF_ID_SLOT_HW];
	HW_Version = (stored <= HW_REV_MAX) ? (uint8_t)stored : HW_Strap;
}

void main_init(){
	write_clear_bkup_sram();
	read_hw_version();
	Init_Leds(HW_Version);
}

void write_clear_bkup_sram(void){
	*(uint32_t*)(SRAM_BKUP_REGISTER) = SRAM_BKUP_REGISTER_CLEAR;
}

void write_bkup_sram(void){
	*(uint32_t*)(SRAM_BKUP_REGISTER) = UPDATE_FW_MODE;
}

/* USER CODE END 4 */

 /* MPU Configuration */

void MPU_Config(void)
{
  MPU_Region_InitTypeDef MPU_InitStruct = {0};
  MPU_Attributes_InitTypeDef MPU_AttributesInit = {0};

  /* Disables the MPU */
  HAL_MPU_Disable();

  /** Initializes and configures the Region 0 and the memory to be protected
  */
  MPU_InitStruct.Enable = MPU_REGION_ENABLE;
  MPU_InitStruct.Number = MPU_REGION_NUMBER0;
  MPU_InitStruct.BaseAddress = 0x08200000;
  MPU_InitStruct.LimitAddress = 0x083FDFFF;
  MPU_InitStruct.AttributesIndex = MPU_ATTRIBUTES_NUMBER0;
  MPU_InitStruct.AccessPermission = MPU_REGION_ALL_RO;
  MPU_InitStruct.DisableExec = MPU_INSTRUCTION_ACCESS_ENABLE;
  MPU_InitStruct.IsShareable = MPU_ACCESS_NOT_SHAREABLE;

  HAL_MPU_ConfigRegion(&MPU_InitStruct);

  /** Initializes and configures the Region 1 and the memory to be protected
  */
  MPU_InitStruct.Number = MPU_REGION_NUMBER1;
  MPU_InitStruct.BaseAddress = 0x20000000;
  MPU_InitStruct.LimitAddress = 0x2026FFFF;
  MPU_InitStruct.AttributesIndex = MPU_ATTRIBUTES_NUMBER1;
  MPU_InitStruct.AccessPermission = MPU_REGION_PRIV_RW;

  HAL_MPU_ConfigRegion(&MPU_InitStruct);

  /** Initializes and configures the Attribute 0 and the memory to be protected
  */
  MPU_AttributesInit.Number = MPU_ATTRIBUTES_NUMBER0;
  MPU_AttributesInit.Attributes = INNER_OUTER(MPU_NOT_CACHEABLE);

  HAL_MPU_ConfigMemoryAttributes(&MPU_AttributesInit);

  /** Initializes and configures the Attribute 1 and the memory to be protected
  */
  MPU_AttributesInit.Number = MPU_ATTRIBUTES_NUMBER1;
  MPU_AttributesInit.Attributes = INNER_OUTER(MPU_WRITE_BACK|MPU_TRANSIENT
                              |MPU_RW_ALLOCATE);

  HAL_MPU_ConfigMemoryAttributes(&MPU_AttributesInit);
  /* Enables the MPU */
  HAL_MPU_Enable(MPU_PRIVILEGED_DEFAULT);

}

void Error_Handler(void)
{
  /* USER CODE BEGIN Error_Handler_Debug */
	/* User can add his own implementation to report the HAL error return state */
	__disable_irq();
	HAL_NVIC_SystemReset();	// a hang with interrupts off would bypass the TIM4 watchdog
  /* USER CODE END Error_Handler_Debug */
}
